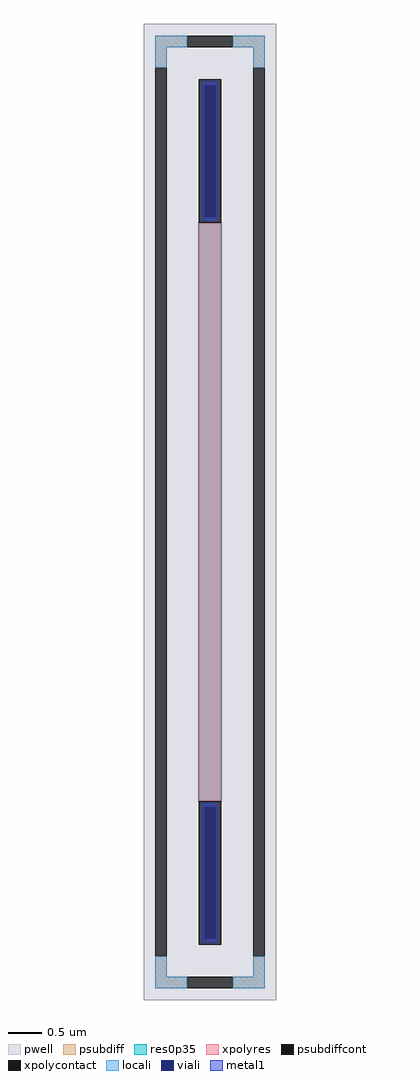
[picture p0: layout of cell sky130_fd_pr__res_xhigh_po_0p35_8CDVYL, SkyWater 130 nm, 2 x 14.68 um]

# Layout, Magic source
magic
tech sky130A
<< pwell >>
rect -100 -734 100 734
<< psubdiff >>
rect -82 699 -34 716
rect 34 699 82 716
rect -82 668 -65 699
rect 65 668 82 699
rect -82 -699 -65 -668
rect 65 -699 82 -668
rect -82 -716 -34 -699
rect 34 -716 82 -699
<< psubdiffcont >>
rect -34 699 34 716
rect -82 -668 -65 668
rect 65 -668 82 668
rect -34 -716 34 -699
<< xpolycontact >>
rect -17 435 17 651
rect -17 -651 17 -435
<< xpolyres >>
rect -17 -435 17 435
<< locali >>
rect -82 699 -34 716
rect 34 699 82 716
rect -82 668 -65 699
rect 65 668 82 699
rect -82 -699 -65 -668
rect 65 -699 82 -668
rect -82 -716 -34 -699
rect 34 -716 82 -699
<< viali >>
rect -9 443 9 642
rect -9 -642 9 -443
<< metal1 >>
rect -12 642 12 648
rect -12 443 -9 642
rect 9 443 12 642
rect -12 437 12 443
rect -12 -443 12 -437
rect -12 -642 -9 -443
rect 9 -642 12 -443
rect -12 -648 12 -642
<< res0p35 >>
rect -18 -436 18 436
<< properties >>
string FIXED_BBOX -74 -707 74 707
string gencell sky130_fd_pr__res_xhigh_po_0p35
string library sky130
string parameters w 0.350 l 8.7 m 1 nx 1 wmin 0.350 lmin 0.50 rho 2000 val 50.789k dummy 0 dw 0.0 term 188.2 sterm 0.0 caplen 0 wmax 0.350 guard 1 glc 1 grc 1 gtc 1 gbc 1 compatible {sky130_fd_pr__res_xhigh_po_0p35  sky130_fd_pr__res_xhigh_po_0p69 sky130_fd_pr__res_xhigh_po_1p41  sky130_fd_pr__res_xhigh_po_2p85 sky130_fd_pr__res_xhigh_po_5p73} snake 0 full_metal 1 n_guard 0 hv_guard 0 vias 1 viagb 0 viagt 0 viagl 0 viagr 0
<< end >>
